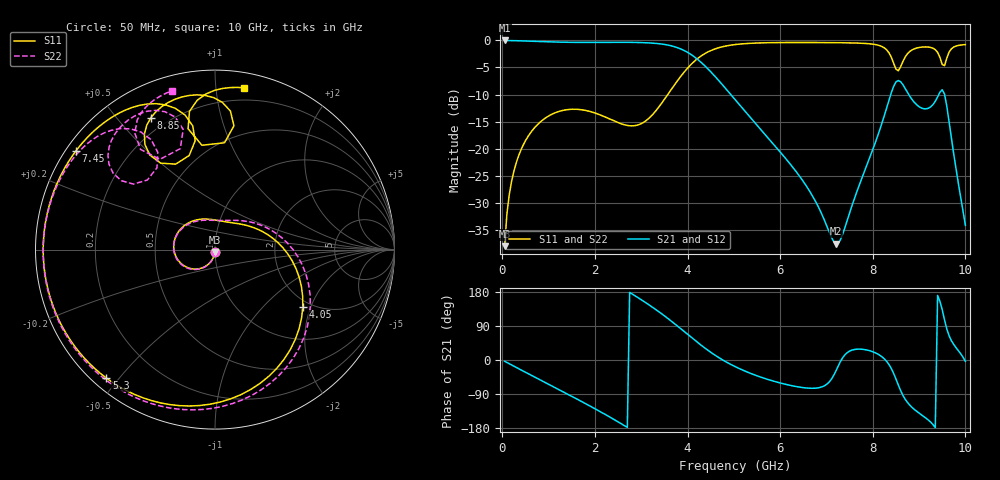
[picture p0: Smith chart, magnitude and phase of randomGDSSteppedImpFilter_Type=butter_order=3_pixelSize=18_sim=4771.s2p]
! freq	dB(S11)	phase(S11)	dB(S12)	phase(S12)
!  dB(S21)	phase(S21)	dB(S22)	phase(S22)
!S-par simulation data
#  GHz  S  DB  R 50
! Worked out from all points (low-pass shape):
!   200 points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, 50 MHz to 10 GHz, reference 50 ohm
!   highest |S21| = -0.01 dB at 50 MHz (marker M1); lowest = -37.5 dB at 7.2 GHz (marker M2)
!   |S21| within 3 dB of the highest: start of sweep to 4.144 GHz
!   lowest |S11| = -38.0 dB at 50 MHz (marker M3), VSWR 1.03, Z = 49.9 - j1.26 ohm
!   |S11| at or under -10 dB: start of sweep to 3.573 GHz
!   |S22| runs from -38.0 to -0.4 dB; largest |S21 - S12| = 0
!   S11 on the Smith chart (normalised r, x): 50 MHz: 1.00, -0.03; 4.05 GHz: 1.81, -1.76; 5.3 GHz: 0.04, -0.46; 7.45 GHz: 0.03, +0.32; 8.85 GHz: 0.14, +0.62; 10 GHz: 0.11, +1.19
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0.05  -38.00 -92.3  -0.01 -3.3  -0.01 -3.3  -38.00 -92.2
0.2  -26.05 -103.2  -0.03 -13.0  -0.03 -13.0  -26.05 -102.8
0.5  -18.53 -123.2  -0.11 -32.3  -0.11 -32.3  -18.53 -122.4
1.15  -13.34 -165.2  -0.30 -73.6  -0.30 -73.6  -13.34 -163.1
1.75  -12.85 155.7  -0.37 -112.0  -0.37 -112.0  -12.85 159.3
2.65  -15.61 91.5  -0.34 -174.1  -0.34 -174.1  -15.61 99.1
3.4  -12.08 29.3  -0.62 125.6  -0.62 125.6  -12.08 38.2
3.75  -7.83 -3.3  -1.24 92.9  -1.24 92.9  -7.83 5.0
4.05  -4.66 -33.2  -2.46 62.9  -2.46 62.9  -4.65 -25.2
4.55  -1.71 -80.0  -6.24 16.3  -6.24 16.3  -1.70 -71.7
5.05  -0.74 -115.9  -11.16 -18.8  -11.16 -18.8  -0.73 -106.9
5.3  -0.56 -130.2  -13.67 -32.3  -13.67 -32.3  -0.55 -120.8
6.7  -0.39 170.9  -28.74 -74.6  -28.74 -74.6  -0.37 -176.0
7.2  -0.42 153.3  -37.55 -30.0  -37.55 -30.0  -0.41 168.0
7.45  -0.45 144.5  -33.18 19.6  -33.18 19.6  -0.44 160.0
8.35  -2.29 102.6  -11.03 -12.0  -11.03 -12.0  -2.23 122.2
8.55  -5.61 114.7  -7.40 -65.6  -7.40 -65.6  -5.34 134.2
8.85  -1.75 115.9  -10.94 -125.4  -10.94 -125.4  -1.73 136.1
9.3  -1.44 90.6  -11.85 -170.4  -11.85 -170.4  -1.48 113.0
9.55  -4.64 97.1  -9.93 105.6  -9.93 105.6  -4.59 121.4
9.65  -2.12 100.5  -15.17 63.4  -15.17 63.4  -2.07 124.5
10  -0.76 79.9  -34.16 -3.5  -34.16 -3.5  -0.76 105.2
